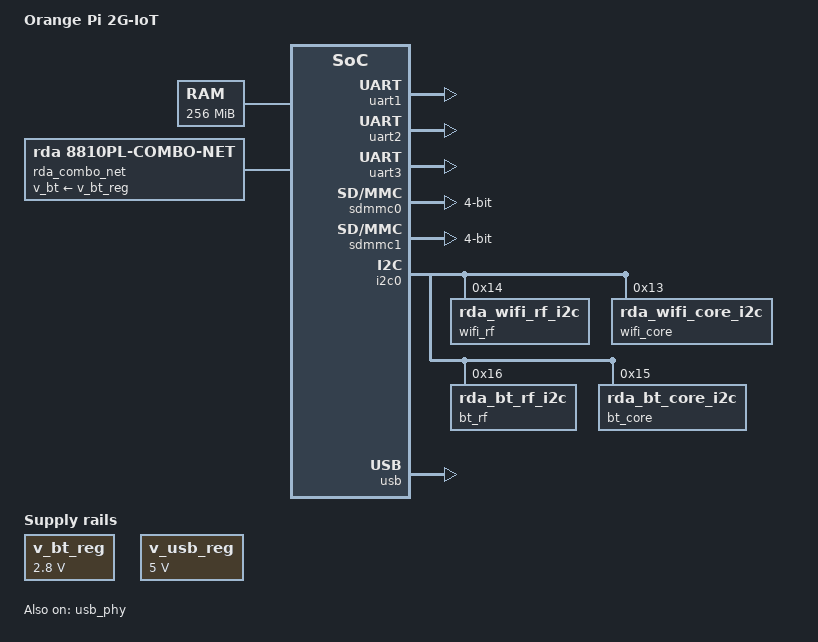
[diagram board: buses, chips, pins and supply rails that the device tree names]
// SPDX-License-Identifier: (GPL-2.0+ OR MIT)
/*
 * Copyright (c) 2017 Andreas Färber
 * Copyright (c) 2018 Manivannan Sadhasivam
 */

/dts-v1/;

#include "rda8810pl.dtsi"
#include <dt-bindings/gpio/gpio.h>

/ {
	compatible = "xunlong,orangepi-2g-iot", "rda,8810pl";
	model = "Orange Pi 2G-IoT";

	aliases {
		serial0 = &uart1;
		serial1 = &uart2;
		serial2 = &uart3;
		mmc0 = &sdmmc0;
		mmc1 = &sdmmc1;
		i2c0 = &i2c0;
	};

	chosen {
		stdout-path = "serial2:921600n8";
	};

	memory@80000000 {
		device_type = "memory";
		reg = <0x80000000 0x10000000>;
	};

	uart_clk: uart-clk {
		compatible = "fixed-clock";
		clock-frequency = <921600>;
		#clock-cells = <0>;
	};

	rda_out_clk: rda-out-clk {
		compatible = "fixed-clock";
		clock-frequency = <32768>;
		#clock-cells = <0>;
		clock-output-names = "clk_out";
	};

	rda_aux_clk: rda-aux-clk {
		compatible = "fixed-clock";
		clock-frequency = <26000000>;
		#clock-cells = <0>;
		clock-output-names = "aux_clk";
	};

	v_bt_reg: v-bt-regulator {
		compatible = "regulator-fixed";
		regulator-name = "v_bt";
		regulator-min-microvolt = <2800000>;
		regulator-max-microvolt = <2800000>;
		regulator-boot-on;
		regulator-always-on;
	};

	v_usb_reg: v-usb-regulator {
		compatible = "regulator-fixed";
		regulator-name = "v_usb";
		regulator-min-microvolt = <5000000>;
		regulator-max-microvolt = <5000000>;
		regulator-boot-on;
		regulator-always-on;
	};

	rda_combo_net: combo-net {
		compatible = "rda,8810pl-combo-net";
		clocks = <&rda_out_clk>, <&rda_aux_clk>;
		clock-names = "rda_out", "rda_aux";
		v_bt-supply = <&v_bt_reg>;
		status = "okay";
	};
};

&uart1 {
	status = "okay";
	clocks = <&uart_clk>;
};

&uart2 {
	status = "okay";
	clocks = <&uart_clk>;
};

&uart3 {
	status = "okay";
	clocks = <&uart_clk>;
};

&sdmmc0 {
	status = "okay";
	bus-width = <4>;
	max-frequency = <30000000>;
	rda,mclk-adj = <1>;
	rda,clk-inv;
	cap-sd-highspeed;
};

&sdmmc1 {
	status = "okay";
	bus-width = <4>;
	cap-sdio-irq;
	keep-power-in-suspend;
	min-frequency = <1000000>;
	max-frequency = <20000000>;
	rda,mclk-adj = <3>;
	rda,clk-inv;
	sdio-safe-frequency = <6000000>;
	sdio-ultra-safe-frequency = <1000000>;
	rda,sdio-eirq-gpios = <&gpiob 2 GPIO_ACTIVE_LOW>;
};

&i2c0 {
	status = "okay";

	wifi_rf@14 {
		compatible = "rda_wifi_rf_i2c";
		reg = <0x14>;
	};

	wifi_core@13 {
		compatible = "rda_wifi_core_i2c";
		reg = <0x13>;
	};

	bt_rf@16 {
		compatible = "rda_bt_rf_i2c";
		reg = <0x16>;
	};

	bt_core@15 {
		compatible = "rda_bt_core_i2c";
		reg = <0x15>;
	};
};

&usb_phy {
	vbus-supply = <&v_usb_reg>;
	status = "okay";
};

&usb {
	status = "okay";
	rda,vbus-switch-gpios = <&gpioa 17 GPIO_ACTIVE_HIGH>;
	rda,plugin-ctrl-gpios = <&gpiob 5 GPIO_ACTIVE_HIGH>;
};
